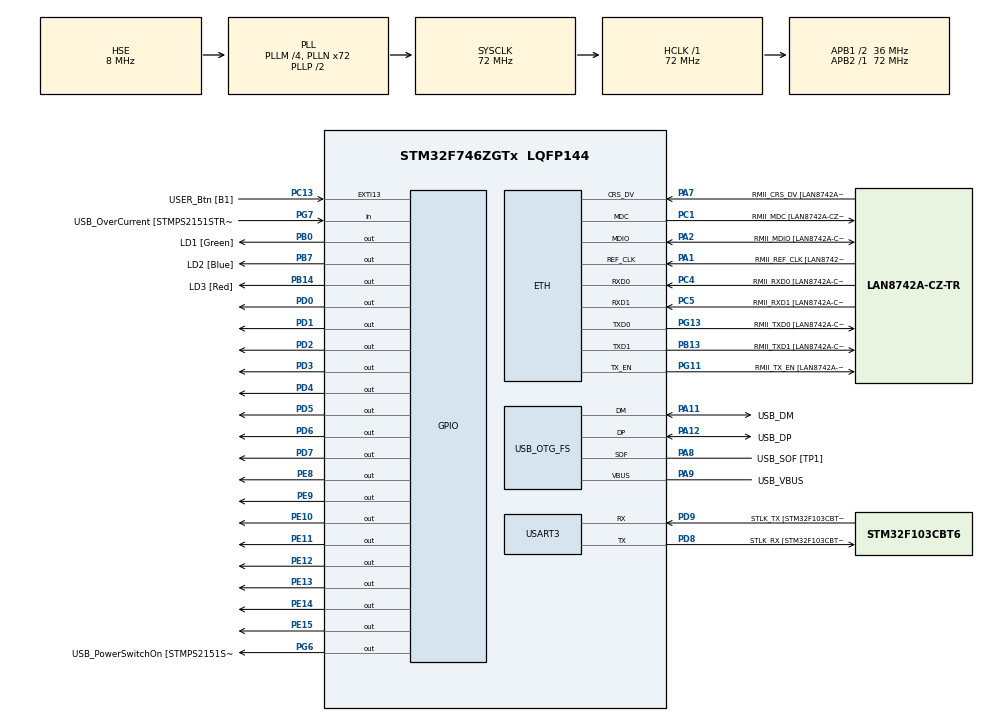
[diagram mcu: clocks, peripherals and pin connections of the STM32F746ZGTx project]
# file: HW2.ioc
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ETH.MediaInterface=HAL_ETH_RMII_MODE
ETH.PHY_Name=LAN8742A_PHY_ADDRESS
ETH.PHY_Value=0
ETH.PhyAddress=0
FREERTOS.Tasks01=defaultTask,24,128,StartDefaultTask,Default,NULL,Dynamic,NULL,NULL
FREERTOS.configUSE_NEWLIB_REENTRANT=1
Mcu.Family=STM32F7
Mcu.Name=STM32F746ZGTx
Mcu.Package=LQFP144
NVIC.PriorityGroup=NVIC_PRIORITYGROUP_4
NVIC.TIM4_IRQn=true\:15\:0\:false\:false\:true\:false\:false\:true\:true
NVIC.TimeBase=TIM4_IRQn
NVIC.TimeBaseIP=TIM4
PA1.GPIO_Label=RMII_REF_CLK [LAN8742A-CZ-TR_REFCLK0]
PA1.Mode=RMII
PA1.Signal=ETH_REF_CLK
PA10.GPIO_Label=USB_ID
PA10.Signal=USB_OTG_FS_ID
PA11.GPIO_Label=USB_DM
PA11.Mode=Device_Only
PA11.Signal=USB_OTG_FS_DM
PA12.GPIO_Label=USB_DP
PA12.Mode=Device_Only
PA12.Signal=USB_OTG_FS_DP
PA13.GPIO_Label=TMS
PA13.Mode=Serial_Wire
PA13.Signal=SYS_JTMS-SWDIO
PA14.GPIO_Label=TCK
PA14.Mode=Serial_Wire
PA14.Signal=SYS_JTCK-SWCLK
PA2.GPIO_Label=RMII_MDIO [LAN8742A-CZ-TR_MDIO]
PA2.Mode=RMII
PA2.Signal=ETH_MDIO
PA7.GPIO_Label=RMII_CRS_DV [LAN8742A-CZ-TR_CRS_DV]
PA7.Mode=RMII
PA7.Signal=ETH_CRS_DV
PA8.GPIO_Label=USB_SOF [TP1]
PA8.Mode=Activate_SOF_FS
PA8.Signal=USB_OTG_FS_SOF
PA9.GPIO_Label=USB_VBUS
PA9.Mode=Activate_VBUS
PA9.Signal=USB_OTG_FS_VBUS
PB0.GPIO_Label=LD1 [Green]
PB0.Signal=GPIO_Output
PB13.GPIO_Label=RMII_TXD1 [LAN8742A-CZ-TR_TXD1]
PB13.Mode=RMII
PB13.Signal=ETH_TXD1
PB14.GPIO_Label=LD3 [Red]
PB14.Signal=GPIO_Output
PB3.GPIO_Label=SW0
PB3.Signal=SYS_JTDO-SWO
PB7.GPIO_Label=LD2 [Blue]
PB7.Signal=GPIO_Output
PC1.GPIO_Label=RMII_MDC [LAN8742A-CZ-TR_MDC]
PC1.Mode=RMII
PC1.Signal=ETH_MDC
PC13.GPIO_Label=USER_Btn [B1]
PC13.Signal=GPXTI13
PC14/OSC32_IN.Mode=LSE-External-Oscillator
PC14/OSC32_IN.Signal=RCC_OSC32_IN
PC15/OSC32_OUT.Mode=LSE-External-Oscillator
PC15/OSC32_OUT.Signal=RCC_OSC32_OUT
PC4.GPIO_Label=RMII_RXD0 [LAN8742A-CZ-TR_RXD0]
PC4.Mode=RMII
PC4.Signal=ETH_RXD0
PC5.GPIO_Label=RMII_RXD1 [LAN8742A-CZ-TR_RXD1]
PC5.Mode=RMII
PC5.Signal=ETH_RXD1
PD0.Signal=GPIO_Output
PD1.Signal=GPIO_Output
PD2.Signal=GPIO_Output
PD3.Signal=GPIO_Output
PD4.Signal=GPIO_Output
PD5.Signal=GPIO_Output
PD6.Signal=GPIO_Output
PD7.Signal=GPIO_Output
PD8.GPIO_Label=STLK_RX [STM32F103CBT6_PA3]
PD8.GPIO_PuPd=GPIO_PULLUP
PD8.Mode=Asynchronous
PD8.Signal=USART3_TX
PD9.GPIO_Label=STLK_TX [STM32F103CBT6_PA2]
PD9.GPIO_PuPd=GPIO_PULLUP
PD9.Mode=Asynchronous
PD9.Signal=USART3_RX
PE10.Signal=GPIO_Output
PE11.Signal=GPIO_Output
PE12.Signal=GPIO_Output
PE13.Signal=GPIO_Output
PE14.Signal=GPIO_Output
PE15.Signal=GPIO_Output
PE8.Signal=GPIO_Output
PE9.Signal=GPIO_Output
PG11.GPIO_Label=RMII_TX_EN [LAN8742A-CZ-TR_TXEN]
PG11.Mode=RMII
PG11.Signal=ETH_TX_EN
PG13.GPIO_Label=RMII_TXD0 [LAN8742A-CZ-TR_TXD0]
PG13.Mode=RMII
PG13.Signal=ETH_TXD0
PG6.GPIO_Label=USB_PowerSwitchOn [STMPS2151STR_EN]
PG6.Signal=GPIO_Output
PG7.GPIO_Label=USB_OverCurrent [STMPS2151STR_FAULT]
PG7.Signal=GPIO_Input
PH0/OSC_IN.GPIO_Label=MCO [STM32F103CBT6_PA8]
PH0/OSC_IN.Mode=HSE-External-Clock-Source
PH0/OSC_IN.Signal=RCC_OSC_IN
PH1/OSC_OUT.Mode=HSE-External-Clock-Source
PH1/OSC_OUT.Signal=RCC_OSC_OUT
ProjectManager.HeapSize=0x200
ProjectManager.StackSize=0x400
ProjectManager.TargetToolchain=STM32CubeIDE
RCC.48MHZClocksFreq_Value=24000000
RCC.AHBFreq_Value=72000000
RCC.APB1CLKDivider=RCC_HCLK_DIV2
RCC.APB1Freq_Value=36000000
RCC.APB1TimFreq_Value=72000000
RCC.APB2Freq_Value=72000000
RCC.APB2TimFreq_Value=72000000
RCC.CortexFreq_Value=72000000
RCC.HCLKFreq_Value=72000000
RCC.HSE_VALUE=8000000
RCC.HSI_VALUE=16000000
RCC.PLLM=4
RCC.PLLMUL=RCC_PLL_MUL9
RCC.PLLN=72
RCC.PLLQ=3
RCC.PRESCALERUSB=RCC_USBCLKSOURCE_PLL_DIV1_5
RCC.SYSCLKFreq_VALUE=72000000
RCC.SYSCLKSource=RCC_SYSCLKSOURCE_PLLCLK
RCC.SYSCLKSourceVirtual=RCC_SYSCLKSOURCE_PLLCLK
RCC.USBFreq_Value=48000000
RCC.VCOOutputFreq_Value=144000000
USART3.VirtualMode-Asynchronous=VM_ASYNC
USB_OTG_FS.VirtualMode=Device_Only
VP_FREERTOS_VS_CMSIS_V2.Mode=CMSIS_V2
VP_SYS_VS_tim4.Mode=TIM4
board=NUCLEO-F746ZG

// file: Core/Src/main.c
/* USER CODE BEGIN Header */
/**
 ******************************************************************************
 * @file           : main.c
 * @brief          : Main program body
 ******************************************************************************
 * @attention
 *
 * Copyright (c) 2024 STMicroelectronics.
 * All rights reserved.
 *
 * This software is licensed under terms that can be found in the LICENSE file
 * in the root directory of this software component.
 * If no LICENSE file comes with this software, it is provided AS-IS.
 *
 ******************************************************************************
 */
/* USER CODE END Header */
#include "main.h"
#include "string.h"
#include "cmsis_os.h"
#include "freertos.h"
#include "task.h"
#include "semphr.h"
#include "queue.h"
#include "stm32f7xx_hal.h"
#include "timers.h"

#if defined ( __ICCARM__ ) /*!< IAR Compiler */
#pragma location=0x2004c000
ETH_DMADescTypeDef  DMARxDscrTab[ETH_RX_DESC_CNT]; /* Ethernet Rx DMA Descriptors */
#pragma location=0x2004c0a0
ETH_DMADescTypeDef  DMATxDscrTab[ETH_TX_DESC_CNT]; /* Ethernet Tx DMA Descriptors */

#elif defined ( __CC_ARM )  /* MDK ARM Compiler */

__attribute__((at(0x2004c000))) ETH_DMADescTypeDef  DMARxDscrTab[ETH_RX_DESC_CNT]; /* Ethernet Rx DMA Descriptors */
__attribute__((at(0x2004c0a0))) ETH_DMADescTypeDef  DMATxDscrTab[ETH_TX_DESC_CNT]; /* Ethernet Tx DMA Descriptors */

#elif defined ( __GNUC__ ) /* GNU Compiler */

ETH_DMADescTypeDef DMARxDscrTab[ETH_RX_DESC_CNT] __attribute__((section(".RxDecripSection"))); /* Ethernet Rx DMA Descriptors */
ETH_DMADescTypeDef DMATxDscrTab[ETH_TX_DESC_CNT] __attribute__((section(".TxDecripSection"))); /* Ethernet Tx DMA Descriptors */
#endif

ETH_TxPacketConfig TxConfig;

ETH_HandleTypeDef heth;

UART_HandleTypeDef huart3;

PCD_HandleTypeDef hpcd_USB_OTG_FS;

void SystemClock_Config(void);
static void MX_GPIO_Init(void);
static void MX_ETH_Init(void);
static void MX_USART3_UART_Init(void);
static void MX_USB_OTG_FS_PCD_Init(void);
void StartDefaultTask(void *argument);

#define STACK_SIZE 128
#define mainONE_SHOT_TIMER_PERIOD 1000
#define mainAUTO_RELOAD_TIMER_PERIOD 500
void SwitchTask(void *argument);
void ReviseID(uint8_t num, uint8_t digit);
void WriteNumTask(void *argument);
void ModeTask(void *argument);
void MX_FREERTOS_Init(void);
void ModeactTask(void *argument);
void ModefiveTask(void *argument);
static void prvModifyTimerCallback(TimerHandle_t xTimer);
static void prvOneShotTimerCallback(TimerHandle_t xTimer);
static void prvAutoReloadTimerCallback(TimerHandle_t xTimer);
SemaphoreHandle_t xCountingSemaphore;
//SemaphoreHandle_t xSemone;
//SemaphoreHandle_t xSemtwo;
//SemaphoreHandle_t xSemthree;
//SemaphoreHandle_t xSemfour;
//SemaphoreHandle_t xSemfive;
TimerHandle_t xOneShotTimer;
TimerHandle_t xModifyTimer;
TimerHandle_t xAutoReloadTimer;
QueueHandle_t xQueue;
QueueHandle_t xSecQueue;

QueueHandle_t xOneQueue;
QueueHandle_t xFiveQueue;

uint8_t modifychk = 0;
uint8_t dig = 1;
uint8_t moving_point = 0;
uint8_t shift_count = 0;
uint8_t secchk = 0;
uint8_t mode = 0;
uint8_t SOGANG[8][56] = {
		{ 1, 0, 0, 0, 0, 0, 1, 0,   1, 1, 0, 0, 0, 0, 1, 1,   1, 1, 0, 0, 0, 0, 0, 0,   1, 1, 1, 0, 0, 1, 1, 1,   0, 0, 1, 1, 1, 0, 0, 0,   1, 1, 0, 0, 0, 0, 0, 0,   1, 1, 1, 1, 1, 1, 1, 1 },
		{ 0, 1, 1, 1, 1, 1, 0, 0, 1, 0, 1, 1, 1, 1, 0, 1, 1, 0, 1, 1, 1, 1, 1,
				0, 1, 1, 0, 1, 1, 0, 1, 1, 1, 0, 0, 1, 1, 1, 0, 1, 1, 0, 1, 1,
				1, 1, 1, 0, 1, 1, 1, 1, 1, 1, 1, 1 }, { 0, 1, 1, 1, 1, 1, 1, 0,
				0, 1, 1, 1, 1, 1, 1, 0, 0, 1, 1, 1, 1, 1, 1, 1, 1, 0, 1, 1, 1,
				1, 0, 1, 1, 0, 1, 0, 1, 1, 0, 1, 0, 1, 1, 1, 1, 1, 1, 1, 1, 1,
				1, 1, 1, 1, 1, 1 }, { 1, 0, 0, 0, 0, 0, 1, 1, 0, 1, 1, 1, 1, 1,
				1, 0, 0, 1, 1, 0, 0, 0, 0, 0, 1, 0, 1, 1, 1, 1, 0, 1, 1, 0, 1,
				1, 0, 1, 0, 1, 0, 1, 1, 0, 0, 0, 0, 0, 1, 1, 1, 1, 1, 1, 1, 1 },
		{ 1, 1, 1, 1, 1, 1, 0, 1, 0, 1, 1, 1, 1, 1, 1, 0, 0, 1, 1, 0, 1, 1, 1,
				0, 1, 0, 0, 0, 0, 0, 0, 1, 1, 0, 1, 1, 1, 0, 0, 1, 0, 1, 1, 0,
				1, 1, 1, 0, 1, 1, 1, 1, 1, 1, 1, 1 }, { 0, 1, 1, 1, 1, 1, 1, 0,
				0, 1, 1, 1, 1, 1, 1, 0, 0, 1, 1, 1, 1, 1, 1, 0, 1, 0, 1, 1, 1,
				1, 0, 1, 1, 0, 1, 1, 1, 1, 0, 1, 0, 1, 1, 1, 1, 1, 1, 0, 1, 1,
				1, 1, 1, 1, 1, 1 }, { 0, 0, 1, 1, 1, 1, 1, 0, 1, 0, 1, 1, 1, 1,
				0, 1, 1, 0, 1, 1, 1, 1, 1, 0, 1, 0, 1, 1, 1, 1, 0, 1, 1, 0, 1,
				1, 1, 1, 0, 1, 1, 0, 1, 1, 1, 1, 1, 0, 1, 1, 1, 1, 1, 1, 1, 1 },
		{ 0, 1, 0, 0, 0, 0, 0, 1, 1, 1, 0, 0, 0, 0, 1, 1, 0, 1, 0, 0, 0, 0, 0,
				1, 0, 0, 0, 1, 1, 0, 0, 0, 0, 0, 0, 1, 1, 0, 0, 0, 0, 1, 0, 0,
				0, 0, 0, 1, 1, 1, 1, 1, 1, 1, 1, 1 } };
uint8_t STUDID[8][56] = { { 1, 1, 0, 0, 0, 0, 1, 1, 1, 1, 0, 0, 0, 0, 1, 1, 1,
		1, 0, 0, 0, 0, 0, 0, 1, 1, 1, 0, 0, 1, 1, 1, 0, 0, 1, 1, 1, 0, 0, 0, 1,
		1, 0, 0, 0, 0, 0, 0, 1, 1, 1, 1, 1, 1, 1, 1 },
		{ 1, 1, 1, 1, 1, 1, 1, 1, 1, 0, 1, 1, 1, 1, 0, 1, 1, 0, 1, 1, 1, 1, 1,
				0, 1, 1, 0, 1, 1, 0, 1, 1, 1, 0, 0, 1, 1, 1, 0, 1, 1, 0, 1, 1,
				1, 1, 1, 0, 1, 1, 1, 1, 1, 1, 1, 1 }, { 1, 1, 1, 1, 1, 1, 1, 1,
				0, 1, 1, 1, 1, 1, 1, 0, 0, 1, 1, 1, 1, 1, 1, 1, 1, 0, 1, 1, 1,
				1, 0, 1, 1, 0, 1, 0, 1, 1, 0, 1, 0, 1, 1, 1, 1, 1, 1, 1, 1, 1,
				1, 1, 1, 1, 1, 1 }, { 1, 1, 1, 1, 1, 1, 1, 1, 0, 1, 1, 1, 1, 1,
				1, 0, 0, 1, 1, 0, 0, 0, 0, 0, 1, 0, 1, 1, 1, 1, 0, 1, 1, 0, 1,
				1, 0, 1, 0, 1, 0, 1, 1, 0, 0, 0, 0, 0, 1, 1, 1, 1, 1, 1, 1, 1 },
		{ 1, 1, 1, 1, 1, 1, 1, 1, 0, 1, 1, 1, 1, 1, 1, 0, 0, 1, 1, 0, 1, 1, 1,
				0, 1, 0, 0, 0, 0, 0, 0, 1, 1, 0, 1, 1, 1, 0, 0, 1, 0, 1, 1, 0,
				1, 1, 1, 0, 1, 1, 1, 1, 1, 1, 1, 1 }, { 1, 1, 1, 1, 1, 1, 1, 1,
				0, 1, 1, 1, 1, 1, 1, 0, 0, 1, 1, 1, 1, 1, 1, 0, 1, 0, 1, 1, 1,
				1, 0, 1, 1, 0, 1, 1, 1, 1, 0, 1, 0, 1, 1, 1, 1, 1, 1, 0, 1, 1,
				1, 1, 1, 1, 1, 1 }, { 1, 1, 1, 1, 1, 1, 1, 1, 1, 0, 1, 1, 1, 1,
				0, 1, 1, 0, 1, 1, 1, 1, 1, 0, 1, 0, 1, 1, 1, 1, 0, 1, 1, 0, 1,
				1, 1, 1, 0, 1, 1, 0, 1, 1, 1, 1, 1, 0, 1, 1, 1, 1, 1, 1, 1, 1 },
		{ 1, 1, 1, 1, 1, 1, 1, 1, 1, 1, 0, 0, 0, 0, 1, 1, 0, 1, 0, 0, 0, 0, 0,
				1, 0, 0, 0, 1, 1, 0, 0, 0, 0, 0, 0, 1, 1, 0, 0, 0, 0, 1, 0, 0,
				0, 0, 0, 1, 1, 1, 1, 1, 1, 1, 1, 1 } };
uint8_t ZERO[8][8] = { { 1, 1, 0, 0, 0, 0, 1, 1 }, { 1, 0, 0, 0, 0, 0, 0, 1 }, {
		1, 0, 0, 1, 1, 0, 0, 1 }, { 1, 0, 0, 1, 1, 0, 0, 1 }, { 1, 0, 0, 1, 1,
		0, 0, 1 }, { 1, 0, 0, 1, 1, 0, 0, 1 }, { 1, 0, 0, 0, 0, 0, 0, 1 }, { 1,
		1, 0, 0, 0, 0, 1, 1 } };
uint8_t ONE[8][8] = { { 1, 1, 1, 0, 0, 1, 1, 1 }, { 1, 1, 0, 0, 0, 1, 1, 1 }, {
		1, 1, 0, 0, 0, 1, 1, 1 }, { 1, 1, 1, 0, 0, 1, 1, 1 }, { 1, 1, 1, 0, 0,
		1, 1, 1 }, { 1, 1, 1, 0, 0, 1, 1, 1 }, { 1, 1, 1, 0, 0, 1, 1, 1 }, { 1,
		0, 0, 0, 0, 0, 0, 1 } };
uint8_t TWO[8][8] = { { 1, 1, 0, 0, 0, 0, 1, 1 }, { 1, 0, 0, 0, 0, 0, 0, 1 }, {
		1, 0, 1, 1, 1, 0, 0, 1 }, { 1, 1, 1, 1, 0, 0, 1, 1 }, { 1, 1, 0, 0, 1,
		1, 1, 1 }, { 1, 0, 0, 1, 1, 1, 1, 1 }, { 1, 0, 0, 0, 0, 0, 0, 1 }, { 1,
		1, 0, 0, 0, 0, 1, 1 } };
uint8_t THREE[8][8] = { { 1, 1, 0, 0, 0, 0, 1, 1 }, { 1, 0, 0, 1, 1, 0, 0, 1 },
		{ 1, 1, 1, 1, 1, 0, 0, 1 }, { 1, 1, 1, 0, 0, 0, 1, 1 }, { 1, 1, 1, 0, 0,
				0, 0, 1 }, { 1, 1, 1, 1, 1, 0, 0, 1 },
		{ 1, 0, 0, 1, 1, 0, 0, 1 }, { 1, 1, 0, 0, 0, 0, 1, 1 } };
uint8_t FOUR[8][8] = { { 1, 1, 1, 1, 0, 0, 1, 1 }, { 1, 1, 1, 0, 0, 0, 1, 1 }, {
		1, 1, 0, 1, 0, 0, 1, 1 }, { 1, 0, 1, 1, 0, 0, 1, 1 }, { 1, 0, 0, 0, 0,
		0, 0, 1 }, { 1, 0, 0, 0, 0, 0, 0, 1 }, { 1, 1, 1, 1, 0, 0, 1, 1 }, { 1,
		1, 1, 1, 0, 0, 1, 1 } };
uint8_t FIVE[8][8] = { { 1, 1, 0, 0, 0, 0, 1, 1 }, { 1, 0, 0, 1, 1, 1, 1, 1 }, {
		1, 0, 0, 1, 1, 1, 1, 1 }, { 1, 0, 0, 0, 0, 0, 1, 1 }, { 1, 1, 1, 1, 1,
		0, 0, 1 }, { 1, 1, 1, 1, 1, 0, 0, 1 }, { 1, 0, 0, 1, 1, 0, 0, 1 }, { 1,
		1, 0, 0, 0, 0, 1, 1 } };
uint8_t SIX[8][8] = { { 1, 1, 0, 0, 0, 0, 1, 1 }, { 1, 0, 0, 1, 1, 1, 0, 1 }, {
		1, 0, 0, 1, 1, 1, 1, 1 }, { 1, 0, 0, 0, 0, 0, 1, 1 }, { 1, 0, 0, 1, 1,
		0, 0, 1 }, { 1, 0, 0, 1, 1, 0, 0, 1 }, { 1, 0, 0, 1, 1, 0, 0, 1 }, { 1,
		1, 0, 0, 0, 0, 1, 1 } };
uint8_t SEVEN[8][8] = { { 1, 0, 0, 0, 0, 0, 0, 1 }, { 1, 0, 0, 1, 1, 0, 0, 1 },
		{ 1, 1, 1, 1, 1, 0, 0, 1 }, { 1, 1, 1, 1, 0, 0, 1, 1 }, { 1, 1, 1, 0, 0,
				1, 1, 1 }, { 1, 1, 1, 0, 0, 1, 1, 1 },
		{ 1, 1, 1, 0, 0, 1, 1, 1 }, { 1, 1, 1, 0, 0, 1, 1, 1 } };
uint8_t EIGHT[8][8] = { { 1, 1, 0, 0, 0, 0, 1, 1 }, { 1, 0, 0, 1, 1, 0, 0, 1 },
		{ 1, 0, 0, 1, 1, 0, 0, 1 }, { 1, 1, 0, 0, 0, 0, 1, 1 }, { 1, 0, 0, 1, 1,
				0, 0, 1 }, { 1, 0, 0, 1, 1, 0, 0, 1 },
		{ 1, 0, 0, 1, 1, 0, 0, 1 }, { 1, 1, 0, 0, 0, 0, 1, 1 } };
uint8_t NINE[8][8] = { { 1, 1, 0, 0, 0, 0, 1, 1 }, { 1, 0, 0, 1, 1, 0, 0, 1 }, {
		1, 0, 0, 1, 1, 0, 0, 1 }, { 1, 0, 0, 1, 1, 0, 0, 1 }, { 1, 1, 0, 0, 0,
		0, 0, 1 }, { 1, 1, 1, 1, 1, 0, 0, 1 }, { 1, 1, 1, 1, 1, 0, 0, 1 }, { 1,
		1, 1, 1, 1, 0, 0, 1 } };
int main(void) {

	/* MCU Configuration--------------------------------------------------------*/

	/* Reset of all peripherals, Initializes the Flash interface and the Systick. */
	HAL_Init();

	/* Configure the system clock */
	SystemClock_Config();

	/* Initialize all configured peripherals */
	MX_GPIO_Init();
	MX_ETH_Init();
	MX_USART3_UART_Init();
	MX_USB_OTG_FS_PCD_Init();

	/* Create the thread(s) */

	MX_FREERTOS_Init();

	/* Start scheduler */
	vTaskStartScheduler();

	/* We should never get here as control is now taken by the scheduler */

	/* Infinite loop */
	while (1) {

	}
}
void ReviseID(uint8_t num, uint8_t digit) {
	uint8_t (*ptr)[8];
	switch (num) {
	case 0:
		ptr = ZERO;
		break;
	case 1:
		ptr = ONE;
		break;
	case 2:
		ptr = TWO;
		break;
	case 3:
		ptr = THREE;
		break;
	case 4:
		ptr = FOUR;
		break;
	case 5:
		ptr = FIVE;
		break;
	case 6:
		ptr = SIX;
		break;
	case 7:
		ptr = SEVEN;
		break;
	case 8:
		ptr = EIGHT;
		break;
	case 9:
		ptr = NINE;
		break;
	}
	for (uint8_t i = 0; i < 8; i++) {
		for (uint8_t j = 0; j < 8; j++) {
			STUDID[i][j + (digit - 1) * 8] = ptr[i][j];
		}
	}
}
void MX_FREERTOS_Init(void) {
	xOneShotTimer = xTimerCreate("OneShot",
	mainONE_SHOT_TIMER_PERIOD,
	pdFALSE, 0, prvOneShotTimerCallback);

	xModifyTimer = xTimerCreate("Modify",
	mainONE_SHOT_TIMER_PERIOD * 3,
	pdFALSE, 0, prvModifyTimerCallback);

	xAutoReloadTimer = xTimerCreate("AutoReload",
	mainAUTO_RELOAD_TIMER_PERIOD,
	pdTRUE, 0, prvAutoReloadTimerCallback);

	xCountingSemaphore = xSemaphoreCreateCounting(10, 0);

	ReviseID(2, 1);
	ReviseID(1, 2);
	ReviseID(1, 3);
	ReviseID(6, 4);
	ReviseID(0, 5);
	ReviseID(6, 6);

//	xSemone = xSemaphoreCreateCounting(10, 0);
//	xSemtwo = xSemaphoreCreateCounting(10, 0);
//	xSemthree = xSemaphoreCreateCounting(10, 0);
//	xSemfour = xSemaphoreCreateCounting(10, 0);
//	xSemfive = xSemaphoreCreateCounting(10, 0);

	xQueue = xQueueCreate(10, sizeof(uint8_t));
	xSecQueue = xQueueCreate(10, sizeof(uint8_t));
	xOneQueue = xQueueCreate(10, sizeof(uint8_t));
	xFiveQueue = xQueueCreate(10, sizeof(uint8_t));

	if (xOneShotTimer != NULL && xModifyTimer != NULL && xAutoReloadTimer != NULL && xCountingSemaphore != NULL && xQueue != NULL && xSecQueue != NULL && xOneQueue != NULL && xFiveQueue != NULL) {
		xTaskCreate(SwitchTask, "SwitchTask", STACK_SIZE, NULL,
		tskIDLE_PRIORITY + 3, NULL);
		xTaskCreate(WriteNumTask, "WriteNumTask", STACK_SIZE, NULL,
		tskIDLE_PRIORITY + 2, NULL);
		xTaskCreate(ModeTask, "ModeTask", STACK_SIZE, NULL,
		tskIDLE_PRIORITY + 2, NULL);
		xTaskCreate(ModeactTask, "ModeactTask", STACK_SIZE, NULL,
		tskIDLE_PRIORITY + 2, NULL);
		xTaskCreate(ModefiveTask, "ModefiveTask", STACK_SIZE, NULL,
		tskIDLE_PRIORITY + 2, NULL);
	}
}
static void prvModifyTimerCallback(TimerHandle_t xTimer) {
	modifychk = 1;
}
static void prvOneShotTimerCallback(TimerHandle_t xTimer) {
	secchk = 1;
}
static void prvAutoReloadTimerCallback(TimerHandle_t xTimer) {
	moving_point++;
	if (moving_point > 55) {
		moving_point = 0;
	}
	if (moving_point == 48) {
		shift_count++;
	}
}

void ModeactTask(void *argument) {
	uint8_t flag = 0;
	uint8_t num;
	uint8_t (*ptr)[56];
	uint8_t cur;
	while (1) {
		if (flag == 0) {
			xQueueReceive(xOneQueue, &num, portMAX_DELAY);
			switch (num) {
			case 1:
			case 2:
				ptr = SOGANG;
				break;
			case 3:
			case 4:
				ptr = STUDID;
				break;
			}
			flag = 1;
		}
		cur = moving_point;
		for (uint8_t i = 0; i < 8; i++) {
			uint8_t ti = (cur + i) > 55 ? (cur + i - 56) : (cur + i);
			uint16_t COL;

			switch (i) {
			case 0:
				COL = GPIO_PIN_8;
				break;
			case 1:
				COL = GPIO_PIN_9;
				break;
			case 2:
				COL = GPIO_PIN_10;
				break;
			case 3:
				COL = GPIO_PIN_11;
				break;
			case 4:
				COL = GPIO_PIN_12;
				break;
			case 5:
				COL = GPIO_PIN_13;
				break;
			case 6:
				COL = GPIO_PIN_14;
				break;
			case 7:
				COL = GPIO_PIN_15;
				break;
			}

			HAL_GPIO_WritePin(GPIOE, COL, GPIO_PIN_SET);
			for (uint8_t j = 0; j < 8; j++) {
				uint16_t ROW;
				switch (j) {
				case 0:
					ROW = GPIO_PIN_0;
					break;
				case 1:
					ROW = GPIO_PIN_1;
					break;
				case 2:
					ROW = GPIO_PIN_2;
					break;
				case 3:
					ROW = GPIO_PIN_3;
					break;
				case 4:
					ROW = GPIO_PIN_4;
					break;
				case 5:
					ROW = GPIO_PIN_5;
					break;
				case 6:
					ROW = GPIO_PIN_6;
					break;
				case 7:
					ROW = GPIO_PIN_7;
					break;
				}
				if (ptr[j][ti] == 1) {
					HAL_GPIO_WritePin(GPIOD, ROW, GPIO_PIN_SET);
				} else {
					HAL_GPIO_WritePin(GPIOD, ROW, GPIO_PIN_RESET);
				}
			}
			HAL_GPIO_WritePin(GPIOE, COL, GPIO_PIN_RESET);
		}
		if (shift_count == 3) {
			xTimerStop(xAutoReloadTimer, 0);
			mode = 0;
			xQueueReceive(xOneQueue, &num, portMAX_DELAY);
			switch (num) {
			case 1:
			case 2:
				ptr = SOGANG;
				break;
			case 3:
			case 4:
				ptr = STUDID;
				break;
			}
		}
	}
}
void ModefiveTask(void *argument) {
	uint8_t (*ptr)[8];
	uint8_t flag = 0;
	while (1) {
		uint8_t num;
		xQueueReceive(xFiveQueue, &num, portMAX_DELAY);
		mode = 6;
		switch (num) {
		case 0:
			ptr = ZERO;
			break;
		case 1:
			ptr = ONE;
			break;
		case 2:
			ptr = TWO;
			break;
		case 3:
			ptr = THREE;
			break;
		case 4:
			ptr = FOUR;
			break;
		case 5:
			ptr = FIVE;
			break;
		case 6:
			ptr = SIX;
			break;
		case 7:
			ptr = SEVEN;
			break;
		case 8:
			ptr = EIGHT;
			break;
		case 9:
			ptr = NINE;
			break;
		}
		if (flag == 0) {
			xTimerStart(xModifyTimer, 0);
			flag = 1;
		} else
			xTimerReset(xModifyTimer, 0);
		while (1) {
			for (uint8_t i = 0; i < 8; i++) {
				uint16_t COL;
				switch (i) {
				case 0:
					COL = GPIO_PIN_8;
					break;
				case 1:
					COL = GPIO_PIN_9;
					break;
				case 2:
					COL = GPIO_PIN_10;
					break;
				case 3:
					COL = GPIO_PIN_11;
					break;
				case 4:
					COL = GPIO_PIN_12;
					break;
				case 5:
					COL = GPIO_PIN_13;
					break;
				case 6:
					COL = GPIO_PIN_14;
					break;
				case 7:
					COL = GPIO_PIN_15;
					break;
				}
				HAL_GPIO_WritePin(GPIOE, COL, GPIO_PIN_SET);
				for (uint8_t j = 0; j < 8; j++) {
					uint16_t ROW;
					switch (j) {
					case 0:
						ROW = GPIO_PIN_0;
						break;
					case 1:
						ROW = GPIO_PIN_1;
						break;
					case 2:
						ROW = GPIO_PIN_2;
						break;
					case 3:
						ROW = GPIO_PIN_3;
						break;
					case 4:
						ROW = GPIO_PIN_4;
						break;
					case 5:
						ROW = GPIO_PIN_5;
						break;
					case 6:
						ROW = GPIO_PIN_6;
						break;
					case 7:
						ROW = GPIO_PIN_7;
						break;
					}
					if (ptr[j][i] == 1) {
						HAL_GPIO_WritePin(GPIOD, ROW, GPIO_PIN_SET);
					} else {
						HAL_GPIO_WritePin(GPIOD, ROW, GPIO_PIN_RESET);
					}
				}
				HAL_GPIO_WritePin(GPIOE, COL, GPIO_PIN_RESET);
			}
			if (modifychk == 1) {
				break;
			}
			if(mode == 7){
				break;
			}
		}
		if (modifychk == 1) {
			if (dig < 6)
				ReviseID(num, dig);
			else {
				ReviseID(num, dig);
				mode = 0;
				dig = 0;
			}
			dig++;
			flag = 0;
			modifychk = 0;
		}

	}
}
void ModeTask(void *argument) {
	uint8_t num;
	while (1) {
		xQueueReceive(xSecQueue, &num, portMAX_DELAY);
		secchk = 0;

		switch (num) {
		case 1:
		case 3:
			mode = num;
			xTimerChangePeriod(xAutoReloadTimer, mainAUTO_RELOAD_TIMER_PERIOD,
					0);
			xTimerStart(xAutoReloadTimer, 0);
			xQueueSend(xOneQueue, &num, 0);
			break;
		case 2:
		case 4:
			mode = num;
			xTimerChangePeriod(xAutoReloadTimer,
					mainAUTO_RELOAD_TIMER_PERIOD / 2, 0);
			xTimerStart(xAutoReloadTimer, 0);
			xQueueSend(xOneQueue, &num, 0);
			break;
		case 5:
			mode = num;
			num = 0;
			xQueueSend(xFiveQueue, &num, 0);
			break;
		}
	}
}
void WriteNumTask(void *argument) {
	uint8_t (*ptr)[8];
	uint8_t flag = 0;
	while (1) {
		uint8_t num;
		xQueueReceive(xQueue, &num, portMAX_DELAY);
		mode = 8;
		switch (num) {
		case 1:
			ptr = ONE;
			break;
		case 2:
			ptr = TWO;
			break;
		case 3:
			ptr = THREE;
			break;
		case 4:
			ptr = FOUR;
			break;
		case 5:
			ptr = FIVE;
			break;
		}
		if (flag == 0) {
			xTimerStart(xOneShotTimer, 0);
			flag = 1;
		} else
			xTimerReset(xOneShotTimer, 0);
		while (1) {
			for (uint8_t i = 0; i < 8; i++) {
				uint16_t COL;
				switch (i) {
				case 0:
					COL = GPIO_PIN_8;
					break;
				case 1:
					COL = GPIO_PIN_9;
					break;
				case 2:
					COL = GPIO_PIN_10;
					break;
				case 3:
					COL = GPIO_PIN_11;
					break;
				case 4:
					COL = GPIO_PIN_12;
					break;
				case 5:
					COL = GPIO_PIN_13;
					break;
				case 6:
					COL = GPIO_PIN_14;
					break;
				case 7:
					COL = GPIO_PIN_15;
					break;
				}
				HAL_GPIO_WritePin(GPIOE, COL, GPIO_PIN_SET);
				for (uint8_t j = 0; j < 8; j++) {
					uint16_t ROW;
					switch (j) {
					case 0:
						ROW = GPIO_PIN_0;
						break;
					case 1:
						ROW = GPIO_PIN_1;
						break;
					case 2:
						ROW = GPIO_PIN_2;
						break;
					case 3:
						ROW = GPIO_PIN_3;
						break;
					case 4:
						ROW = GPIO_PIN_4;
						break;
					case 5:
						ROW = GPIO_PIN_5;
						break;
					case 6:
						ROW = GPIO_PIN_6;
						break;
					case 7:
						ROW = GPIO_PIN_7;
						break;
					}
					if (ptr[j][i] == 1) {
						HAL_GPIO_WritePin(GPIOD, ROW, GPIO_PIN_SET);
					} else {
						HAL_GPIO_WritePin(GPIOD, ROW, GPIO_PIN_RESET);
					}
				}
				HAL_GPIO_WritePin(GPIOE, COL, GPIO_PIN_RESET);
			}
			if (secchk == 1) {
				mode = 10;
				break;
			}
			if (mode == 9) {
				break;
			}
		}
		if (secchk == 1) {
			flag = 0;
			xQueueSend(xSecQueue, &num, 0);
		}
	}
}
void SwitchTask(void *argument) {
	uint8_t scounter = 0;
	uint8_t modefive = 0;
	uint8_t cur_dig = 10;
	while (1) {
		xSemaphoreTake(xCountingSemaphore, portMAX_DELAY);
		if (mode == 5 || mode == 7) {
			modefive++;
			if (modefive > 9 || cur_dig != dig)
				modefive = 0;
			if (modifychk == 0)
				xQueueSend(xFiveQueue, &modefive, 0);
			cur_dig = dig;
		} else {
			secchk = 0;
			scounter++;
			if (scounter > 5)
				scounter = 1;
			xQueueSend(xQueue, &scounter, 0);
		}

	}
}

void SystemClock_Config(void) {
	RCC_OscInitTypeDef RCC_OscInitStruct = { 0 };
	RCC_ClkInitTypeDef RCC_ClkInitStruct = { 0 };

	/** Configure LSE Drive Capability
	 */
	HAL_PWR_EnableBkUpAccess();

	/** Configure the main internal regulator output voltage
	 */
	__HAL_RCC_PWR_CLK_ENABLE();
	__HAL_PWR_VOLTAGESCALING_CONFIG(PWR_REGULATOR_VOLTAGE_SCALE3);

	/** Initializes the RCC Oscillators according to the specified parameters
	 * in the RCC_OscInitTypeDef structure.
	 */
	RCC_OscInitStruct.OscillatorType = RCC_OSCILLATORTYPE_HSE;
	RCC_OscInitStruct.HSEState = RCC_HSE_BYPASS;
	RCC_OscInitStruct.PLL.PLLState = RCC_PLL_ON;
	RCC_OscInitStruct.PLL.PLLSource = RCC_PLLSOURCE_HSE;
	RCC_OscInitStruct.PLL.PLLM = 4;
	RCC_OscInitStruct.PLL.PLLN = 72;
	RCC_OscInitStruct.PLL.PLLP = RCC_PLLP_DIV2;
	RCC_OscInitStruct.PLL.PLLQ = 3;
	if (HAL_RCC_OscConfig(&RCC_OscInitStruct) != HAL_OK) {
		Error_Handler();
	}

	/** Initializes the CPU, AHB and APB buses clocks
	 */
	RCC_ClkInitStruct.ClockType = RCC_CLOCKTYPE_HCLK | RCC_CLOCKTYPE_SYSCLK
			| RCC_CLOCKTYPE_PCLK1 | RCC_CLOCKTYPE_PCLK2;
	RCC_ClkInitStruct.SYSCLKSource = RCC_SYSCLKSOURCE_PLLCLK;
	RCC_ClkInitStruct.AHBCLKDivider = RCC_SYSCLK_DIV1;
	RCC_ClkInitStruct.APB1CLKDivider = RCC_HCLK_DIV2;
	RCC_ClkInitStruct.APB2CLKDivider = RCC_HCLK_DIV1;

	if (HAL_RCC_ClockConfig(&RCC_ClkInitStruct, FLASH_LATENCY_2) != HAL_OK) {
		Error_Handler();
	}
}

static void MX_ETH_Init(void) {

	static uint8_t MACAddr[6];

	heth.Instance = ETH;
	MACAddr[0] = 0x00;
	MACAddr[1] = 0x80;
	MACAddr[2] = 0xE1;
	MACAddr[3] = 0x00;
	MACAddr[4] = 0x00;
	MACAddr[5] = 0x00;
	heth.Init.MACAddr = &MACAddr[0];
	heth.Init.MediaInterface = HAL_ETH_RMII_MODE;
	heth.Init.TxDesc = DMATxDscrTab;
	heth.Init.RxDesc = DMARxDscrTab;
	heth.Init.RxBuffLen = 1524;

	if (HAL_ETH_Init(&heth) != HAL_OK) {
		Error_Handler();
	}

	memset(&TxConfig, 0, sizeof(ETH_TxPacketConfig));
	TxConfig.Attributes = ETH_TX_PACKETS_FEATURES_CSUM
			| ETH_TX_PACKETS_FEATURES_CRCPAD;
	TxConfig.ChecksumCtrl = ETH_CHECKSUM_IPHDR_PAYLOAD_INSERT_PHDR_CALC;
	TxConfig.CRCPadCtrl = ETH_CRC_PAD_INSERT;

}

static void MX_USART3_UART_Init(void) {

	huart3.Instance = USART3;
	huart3.Init.BaudRate = 115200;
	huart3.Init.WordLength = UART_WORDLENGTH_8B;
	huart3.Init.StopBits = UART_STOPBITS_1;
	huart3.Init.Parity = UART_PARITY_NONE;
	huart3.Init.Mode = UART_MODE_TX_RX;
	huart3.Init.HwFlowCtl = UART_HWCONTROL_NONE;
	huart3.Init.OverSampling = UART_OVERSAMPLING_16;
	huart3.Init.OneBitSampling = UART_ONE_BIT_SAMPLE_DISABLE;
	huart3.AdvancedInit.AdvFeatureInit = UART_ADVFEATURE_NO_INIT;
	if (HAL_UART_Init(&huart3) != HAL_OK) {
		Error_Handler();
	}

}

static void MX_USB_OTG_FS_PCD_Init(void) {

	hpcd_USB_OTG_FS.Instance = USB_OTG_FS;
	hpcd_USB_OTG_FS.Init.dev_endpoints = 6;
	hpcd_USB_OTG_FS.Init.speed = PCD_SPEED_FULL;
	hpcd_USB_OTG_FS.Init.dma_enable = DISABLE;
	hpcd_USB_OTG_FS.Init.phy_itface = PCD_PHY_EMBEDDED;
	hpcd_USB_OTG_FS.Init.Sof_enable = ENABLE;
	hpcd_USB_OTG_FS.Init.low_power_enable = DISABLE;
	hpcd_USB_OTG_FS.Init.lpm_enable = DISABLE;
	hpcd_USB_OTG_FS.Init.vbus_sensing_enable = ENABLE;
	hpcd_USB_OTG_FS.Init.use_dedicated_ep1 = DISABLE;
	if (HAL_PCD_Init(&hpcd_USB_OTG_FS) != HAL_OK) {
		Error_Handler();
	}

}

static void MX_GPIO_Init(void) {
	GPIO_InitTypeDef GPIO_InitStruct = { 0 };

	/* GPIO Ports Clock Enable */
	__HAL_RCC_GPIOC_CLK_ENABLE();
	__HAL_RCC_GPIOH_CLK_ENABLE();
	__HAL_RCC_GPIOA_CLK_ENABLE();
	__HAL_RCC_GPIOB_CLK_ENABLE();
	__HAL_RCC_GPIOE_CLK_ENABLE();
	__HAL_RCC_GPIOD_CLK_ENABLE();
	__HAL_RCC_GPIOG_CLK_ENABLE();

	/*Configure GPIO pin Output Level */
	HAL_GPIO_WritePin(GPIOB, LD1_Pin | LD3_Pin | LD2_Pin, GPIO_PIN_RESET);

	/*Configure GPIO pin Output Level */
	HAL_GPIO_WritePin(GPIOE,
			GPIO_PIN_8 | GPIO_PIN_9 | GPIO_PIN_10 | GPIO_PIN_11 | GPIO_PIN_12
					| GPIO_PIN_13 | GPIO_PIN_14 | GPIO_PIN_15, GPIO_PIN_RESET);

	/*Configure GPIO pin Output Level */
	HAL_GPIO_WritePin(USB_PowerSwitchOn_GPIO_Port, USB_PowerSwitchOn_Pin,
			GPIO_PIN_RESET);

	/*Configure GPIO pin Output Level */
	HAL_GPIO_WritePin(GPIOD,
			GPIO_PIN_0 | GPIO_PIN_1 | GPIO_PIN_2 | GPIO_PIN_3 | GPIO_PIN_4
					| GPIO_PIN_5 | GPIO_PIN_6 | GPIO_PIN_7, GPIO_PIN_RESET);

	/*Configure GPIO pin : USER_Btn_Pin */
	GPIO_InitStruct.Pin = USER_Btn_Pin;
	GPIO_InitStruct.Mode = GPIO_MODE_IT_RISING;
	GPIO_InitStruct.Pull = GPIO_NOPULL;
	HAL_GPIO_Init(USER_Btn_GPIO_Port, &GPIO_InitStruct);

	/*Configure GPIO pins : LD1_Pin LD3_Pin LD2_Pin */
	GPIO_InitStruct.Pin = LD1_Pin | LD3_Pin | LD2_Pin;
	GPIO_InitStruct.Mode = GPIO_MODE_OUTPUT_PP;
	GPIO_InitStruct.Pull = GPIO_NOPULL;
	GPIO_InitStruct.Speed = GPIO_SPEED_FREQ_LOW;
	HAL_GPIO_Init(GPIOB, &GPIO_InitStruct);

	/*Configure GPIO pins : PE8 PE9 PE10 PE11
	 PE12 PE13 PE14 PE15 */
	GPIO_InitStruct.Pin = GPIO_PIN_8 | GPIO_PIN_9 | GPIO_PIN_10 | GPIO_PIN_11
			| GPIO_PIN_12 | GPIO_PIN_13 | GPIO_PIN_14 | GPIO_PIN_15;
	GPIO_InitStruct.Mode = GPIO_MODE_OUTPUT_PP;
	GPIO_InitStruct.Pull = GPIO_NOPULL;
	GPIO_InitStruct.Speed = GPIO_SPEED_FREQ_LOW;
	HAL_GPIO_Init(GPIOE, &GPIO_InitStruct);

	/*Configure GPIO pin : USB_PowerSwitchOn_Pin */
	GPIO_InitStruct.Pin = USB_PowerSwitchOn_Pin;
	GPIO_InitStruct.Mode = GPIO_MODE_OUTPUT_PP;
	GPIO_InitStruct.Pull = GPIO_NOPULL;
	GPIO_InitStruct.Speed = GPIO_SPEED_FREQ_LOW;
	HAL_GPIO_Init(USB_PowerSwitchOn_GPIO_Port, &GPIO_InitStruct);

	/*Configure GPIO pin : USB_OverCurrent_Pin */
	GPIO_InitStruct.Pin = USB_OverCurrent_Pin;
	GPIO_InitStruct.Mode = GPIO_MODE_INPUT;
	GPIO_InitStruct.Pull = GPIO_NOPULL;
	HAL_GPIO_Init(USB_OverCurrent_GPIO_Port, &GPIO_InitStruct);

	/*Configure GPIO pins : PD0 PD1 PD2 PD3
	 PD4 PD5 PD6 PD7 */
	GPIO_InitStruct.Pin = GPIO_PIN_0 | GPIO_PIN_1 | GPIO_PIN_2 | GPIO_PIN_3
			| GPIO_PIN_4 | GPIO_PIN_5 | GPIO_PIN_6 | GPIO_PIN_7;
	GPIO_InitStruct.Mode = GPIO_MODE_OUTPUT_PP;
	GPIO_InitStruct.Pull = GPIO_NOPULL;
	GPIO_InitStruct.Speed = GPIO_SPEED_FREQ_LOW;
	HAL_GPIO_Init(GPIOD, &GPIO_InitStruct);

	/* USER CODE BEGIN MX_GPIO_Init_2 */
	HAL_NVIC_SetPriority(EXTI15_10_IRQn, 5, 0);
	HAL_NVIC_EnableIRQ(EXTI15_10_IRQn);
	/* USER CODE END MX_GPIO_Init_2 */
}

/* USER CODE BEGIN 4 */
void HAL_GPIO_EXTI_Callback(uint16_t GPIO_Pin) {
	static uint32_t pre_itr_t = 0;
	uint32_t cur_itr_t = HAL_GetTick();
	if ((cur_itr_t - pre_itr_t > 80)) {
		shift_count = 0;
		moving_point = 0;
		switch (mode) {
		case 0:
		case 5:
			xSemaphoreGiveFromISR(xCountingSemaphore, NULL);
			break;
		case 6:
			mode = 7;
			xSemaphoreGiveFromISR(xCountingSemaphore, NULL);
			break;
		case 8:
			mode = 9;
			xSemaphoreGiveFromISR(xCountingSemaphore, NULL);
			break;
		default:
			break;
		}
	}
	pre_itr_t = cur_itr_t;
}
/* USER CODE END 4 */

/* USER CODE BEGIN Header_StartDefaultTask */

void HAL_TIM_PeriodElapsedCallback(TIM_HandleTypeDef *htim) {
	if (htim->Instance == TIM4) {
		HAL_IncTick();
	}
}

void Error_Handler(void) {
	__disable_irq();
	while (1) {
	}
}
